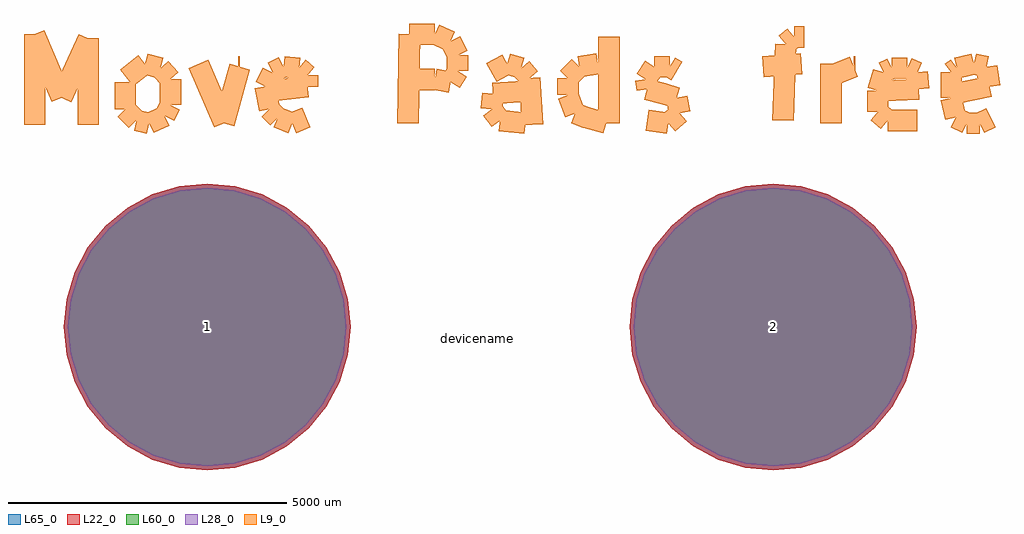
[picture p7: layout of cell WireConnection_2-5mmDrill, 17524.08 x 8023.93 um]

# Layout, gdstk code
import gdstk
lib = gdstk.Library(unit=1e-6, precision=1e-09)
def P(c, l, *ps):  # polygons
    for p in ps: c.add(gdstk.Polygon(p, *l))
L9_0 = (9, 0)
L22_0 = (22, 0)
L28_0 = (28, 0)
L60_0 = (60, 0)
L65_0 = (65, 0)

wireconnection_2_5mmdril = lib.new_cell('WireConnection_2-5mmDrill')
P(wireconnection_2_5mmdril, L22_0, [(12735.63,0),(12686.14,502.48),(12539.572,985.651),(12301.558,1430.943),(11981.245,1821.245),(11590.943,2141.558),(11145.651,2379.572),(10662.48,2526.14),(10160,2575.63),(9657.52,2526.14),(9174.349,2379.572),(8729.057,2141.558),(8338.755,1821.245),(8018.442,1430.943),(7780.428,985.651),(7633.86,502.48),(7584.37,0),(7633.86,-502.48),(7780.428,-985.651),(8018.442,-1430.943),(8338.755,-1821.245),(8729.057,-2141.558),(9174.349,-2379.572),(9657.52,-2526.14),(10160,-2575.63),(10662.48,-2526.14),(11145.651,-2379.572),(11590.943,-2141.558),(11981.245,-1821.245),(12301.558,-1430.943),(12539.572,-985.651),(12686.14,-502.48)],
  [(2575.63,0),(2526.14,502.48),(2379.572,985.651),(2141.558,1430.943),(1821.245,1821.245),(1430.943,2141.558),(985.651,2379.572),(502.48,2526.14),(0,2575.63),(-502.48,2526.14),(-985.651,2379.572),(-1430.943,2141.558),(-1821.245,1821.245),(-2141.558,1430.943),(-2379.572,985.651),(-2526.14,502.48),(-2575.63,0),(-2526.14,-502.48),(-2379.572,-985.651),(-2141.558,-1430.943),(-1821.245,-1821.245),(-1430.943,-2141.558),(-985.651,-2379.572),(-502.48,-2526.14),(0,-2575.63),(502.48,-2526.14),(985.651,-2379.572),(1430.943,-2141.558),(1821.245,-1821.245),(2141.558,-1430.943),(2379.572,-985.651),(2526.14,-502.48)])
P(wireconnection_2_5mmdril, L28_0, [(12660.63,0),(12612.581,487.849),(12470.281,956.95),(12239.198,1389.276),(11928.212,1768.212),(11549.276,2079.198),(11116.95,2310.281),(10647.849,2452.581),(10160,2500.63),(9672.151,2452.581),(9203.05,2310.281),(8770.724,2079.198),(8391.788,1768.212),(8080.802,1389.276),(7849.719,956.95),(7707.419,487.849),(7659.37,0),(7707.419,-487.849),(7849.719,-956.95),(8080.802,-1389.276),(8391.788,-1768.212),(8770.724,-2079.198),(9203.05,-2310.281),(9672.151,-2452.581),(10160,-2500.63),(10647.849,-2452.581),(11116.95,-2310.281),(11549.276,-2079.198),(11928.212,-1768.212),(12239.198,-1389.276),(12470.281,-956.95),(12612.581,-487.849)],
  [(2500.63,0),(2452.581,487.849),(2310.281,956.95),(2079.198,1389.276),(1768.212,1768.212),(1389.276,2079.198),(956.95,2310.281),(487.849,2452.581),(0,2500.63),(-487.849,2452.581),(-956.95,2310.281),(-1389.276,2079.198),(-1768.212,1768.212),(-2079.198,1389.276),(-2310.281,956.95),(-2452.581,487.849),(-2500.63,0),(-2452.581,-487.849),(-2310.281,-956.95),(-2079.198,-1389.276),(-1768.212,-1768.212),(-1389.276,-2079.198),(-956.95,-2310.281),(-487.849,-2452.581),(0,-2500.63),(487.849,-2452.581),(956.95,-2310.281),(1389.276,-2079.198),(1768.212,-1768.212),(2079.198,-1389.276),(2310.281,-956.95),(2452.581,-487.849)])
P(wireconnection_2_5mmdril, L60_0, [(12660.63,0),(12612.581,487.849),(12470.281,956.95),(12239.198,1389.276),(11928.212,1768.212),(11549.276,2079.198),(11116.95,2310.281),(10647.849,2452.581),(10160,2500.63),(9672.151,2452.581),(9203.05,2310.281),(8770.724,2079.198),(8391.788,1768.212),(8080.802,1389.276),(7849.719,956.95),(7707.419,487.849),(7659.37,0),(7707.419,-487.849),(7849.719,-956.95),(8080.802,-1389.276),(8391.788,-1768.212),(8770.724,-2079.198),(9203.05,-2310.281),(9672.151,-2452.581),(10160,-2500.63),(10647.849,-2452.581),(11116.95,-2310.281),(11549.276,-2079.198),(11928.212,-1768.212),(12239.198,-1389.276),(12470.281,-956.95),(12612.581,-487.849)],
  [(2500.63,0),(2452.581,487.849),(2310.281,956.95),(2079.198,1389.276),(1768.212,1768.212),(1389.276,2079.198),(956.95,2310.281),(487.849,2452.581),(0,2500.63),(-487.849,2452.581),(-956.95,2310.281),(-1389.276,2079.198),(-1768.212,1768.212),(-2079.198,1389.276),(-2310.281,956.95),(-2452.581,487.849),(-2500.63,0),(-2452.581,-487.849),(-2310.281,-956.95),(-2079.198,-1389.276),(-1768.212,-1768.212),(-1389.276,-2079.198),(-956.95,-2310.281),(-487.849,-2452.581),(0,-2500.63),(487.849,-2452.581),(956.95,-2310.281),(1389.276,-2079.198),(1768.212,-1768.212),(2079.198,-1389.276),(2310.281,-956.95),(2452.581,-487.849)])
P(wireconnection_2_5mmdril, L65_0, [(12735.63,0),(12686.14,502.48),(12539.572,985.651),(12301.558,1430.943),(11981.245,1821.245),(11590.943,2141.558),(11145.651,2379.572),(10662.48,2526.14),(10160,2575.63),(9657.52,2526.14),(9174.349,2379.572),(8729.057,2141.558),(8338.755,1821.245),(8018.442,1430.943),(7780.428,985.651),(7633.86,502.48),(7584.37,0),(7633.86,-502.48),(7780.428,-985.651),(8018.442,-1430.943),(8338.755,-1821.245),(8729.057,-2141.558),(9174.349,-2379.572),(9657.52,-2526.14),(10160,-2575.63),(10662.48,-2526.14),(11145.651,-2379.572),(11590.943,-2141.558),(11981.245,-1821.245),(12301.558,-1430.943),(12539.572,-985.651),(12686.14,-502.48)],
  [(2575.63,0),(2526.14,502.48),(2379.572,985.651),(2141.558,1430.943),(1821.245,1821.245),(1430.943,2141.558),(985.651,2379.572),(502.48,2526.14),(0,2575.63),(-502.48,2526.14),(-985.651,2379.572),(-1430.943,2141.558),(-1821.245,1821.245),(-2141.558,1430.943),(-2379.572,985.651),(-2526.14,502.48),(-2575.63,0),(-2526.14,-502.48),(-2379.572,-985.651),(-2141.558,-1430.943),(-1821.245,-1821.245),(-1430.943,-2141.558),(-985.651,-2379.572),(-502.48,-2526.14),(0,-2575.63),(502.48,-2526.14),(985.651,-2379.572),(1430.943,-2141.558),(1821.245,-1821.245),(2141.558,-1430.943),(2379.572,-985.651),(2526.14,-502.48)])
wireconnection_2_5mmdril.add(gdstk.FlexPath([(-2133.6,5181.6),(-2133.6,3632.2)], 380.998, ends="flush", simple_path=True, layer=9, datatype=0))  # L9_0
wireconnection_2_5mmdril.add(gdstk.FlexPath([(-2616.2,4114.8),(-2133.6,5181.6)], 380.998, ends="flush", simple_path=True, layer=9, datatype=0))  # L9_0
wireconnection_2_5mmdril.add(gdstk.FlexPath([(-3098.8,5257.8),(-2616.2,4114.8)], 380.998, ends="flush", simple_path=True, layer=9, datatype=0))  # L9_0
wireconnection_2_5mmdril.add(gdstk.FlexPath([(-3098.8,3632.2),(-3098.8,5257.8)], 380.998, ends="flush", simple_path=True, layer=9, datatype=0))  # L9_0
wireconnection_2_5mmdril.add(gdstk.FlexPath([(-1117.6,4724.4),(-1447.8,4470.4)], 380.998, ends="flush", simple_path=True, layer=9, datatype=0))  # L9_0
wireconnection_2_5mmdril.add(gdstk.FlexPath([(-838.2,4648.2),(-1117.6,4724.4)], 380.998, ends="flush", simple_path=True, layer=9, datatype=0))  # L9_0
wireconnection_2_5mmdril.add(gdstk.FlexPath([(-660.4,4445),(-838.2,4648.2)], 380.998, ends="flush", simple_path=True, layer=9, datatype=0))  # L9_0
wireconnection_2_5mmdril.add(gdstk.FlexPath([(-660.4,3987.8),(-660.4,4445)], 380.998, ends="flush", simple_path=True, layer=9, datatype=0))  # L9_0
wireconnection_2_5mmdril.add(gdstk.FlexPath([(-762,3784.6),(-660.4,3987.8)], 380.998, ends="flush", simple_path=True, layer=9, datatype=0))  # L9_0
wireconnection_2_5mmdril.add(gdstk.FlexPath([(-1041.4,3657.6),(-762,3784.6)], 380.998, ends="flush", simple_path=True, layer=9, datatype=0))  # L9_0
wireconnection_2_5mmdril.add(gdstk.FlexPath([(-1270,3708.4),(-1041.4,3657.6)], 380.998, ends="flush", simple_path=True, layer=9, datatype=0))  # L9_0
wireconnection_2_5mmdril.add(gdstk.FlexPath([(-1473.2,3911.6),(-1270,3708.4)], 380.998, ends="flush", simple_path=True, layer=9, datatype=0))  # L9_0
wireconnection_2_5mmdril.add(gdstk.FlexPath([(-1473.2,4394.2),(-1473.2,3911.6)], 380.998, ends="flush", simple_path=True, layer=9, datatype=0))  # L9_0
wireconnection_2_5mmdril.add(gdstk.FlexPath([(584.2,4673.6),(558.8,4673.6)], 380.998, ends="flush", simple_path=True, layer=9, datatype=0))  # L9_0
wireconnection_2_5mmdril.add(gdstk.FlexPath([(304.8,3657.6),(584.2,4673.6)], 380.998, ends="flush", simple_path=True, layer=9, datatype=0))  # L9_0
wireconnection_2_5mmdril.add(gdstk.FlexPath([(-152.4,4724.4),(304.8,3657.6)], 380.998, ends="flush", simple_path=True, layer=9, datatype=0))  # L9_0
wireconnection_2_5mmdril.add(gdstk.FlexPath([(1803.4,4318),(1168.4,4241.8)], 380.998, ends="flush", simple_path=True, layer=9, datatype=0))  # L9_0
wireconnection_2_5mmdril.add(gdstk.FlexPath([(1803.4,4521.2),(1803.4,4318)], 380.998, ends="flush", simple_path=True, layer=9, datatype=0))  # L9_0
wireconnection_2_5mmdril.add(gdstk.FlexPath([(1651,4648.2),(1803.4,4521.2)], 380.998, ends="flush", simple_path=True, layer=9, datatype=0))  # L9_0
wireconnection_2_5mmdril.add(gdstk.FlexPath([(1371.6,4673.6),(1651,4648.2)], 380.998, ends="flush", simple_path=True, layer=9, datatype=0))  # L9_0
wireconnection_2_5mmdril.add(gdstk.FlexPath([(1168.4,4572),(1371.6,4673.6)], 380.998, ends="flush", simple_path=True, layer=9, datatype=0))  # L9_0
wireconnection_2_5mmdril.add(gdstk.FlexPath([(1041.4,4318),(1168.4,4572)], 380.998, ends="flush", simple_path=True, layer=9, datatype=0))  # L9_0
wireconnection_2_5mmdril.add(gdstk.FlexPath([(1117.6,3911.6),(1041.4,4318)], 380.998, ends="flush", simple_path=True, layer=9, datatype=0))  # L9_0
wireconnection_2_5mmdril.add(gdstk.FlexPath([(1270,3759.2),(1117.6,3911.6)], 380.998, ends="flush", simple_path=True, layer=9, datatype=0))  # L9_0
wireconnection_2_5mmdril.add(gdstk.FlexPath([(1524,3657.6),(1270,3759.2)], 380.998, ends="flush", simple_path=True, layer=9, datatype=0))  # L9_0
wireconnection_2_5mmdril.add(gdstk.FlexPath([(1778,3759.2),(1524,3657.6)], 380.998, ends="flush", simple_path=True, layer=9, datatype=0))  # L9_0
wireconnection_2_5mmdril.add(gdstk.FlexPath([(4089.4,4445),(3632.2,4445)], 380.998, ends="flush", simple_path=True, layer=9, datatype=0))  # L9_0
wireconnection_2_5mmdril.add(gdstk.FlexPath([(4368.8,4394.2),(4089.4,4445)], 380.998, ends="flush", simple_path=True, layer=9, datatype=0))  # L9_0
wireconnection_2_5mmdril.add(gdstk.FlexPath([(4495.8,4597.4),(4368.8,4394.2)], 380.998, ends="flush", simple_path=True, layer=9, datatype=0))  # L9_0
wireconnection_2_5mmdril.add(gdstk.FlexPath([(4495.8,4876.8),(4495.8,4597.4)], 380.998, ends="flush", simple_path=True, layer=9, datatype=0))  # L9_0
wireconnection_2_5mmdril.add(gdstk.FlexPath([(4368.8,5130.8),(4495.8,4876.8)], 380.998, ends="flush", simple_path=True, layer=9, datatype=0))  # L9_0
wireconnection_2_5mmdril.add(gdstk.FlexPath([(4089.4,5257.8),(4368.8,5130.8)], 380.998, ends="flush", simple_path=True, layer=9, datatype=0))  # L9_0
wireconnection_2_5mmdril.add(gdstk.FlexPath([(3632.2,5257.8),(4089.4,5257.8)], 380.998, ends="flush", simple_path=True, layer=9, datatype=0))  # L9_0
wireconnection_2_5mmdril.add(gdstk.FlexPath([(3606.8,3657.6),(3632.2,5257.8)], 380.998, ends="flush", simple_path=True, layer=9, datatype=0))  # L9_0
wireconnection_2_5mmdril.add(gdstk.FlexPath([(5791.2,4470.4),(5842,3632.2)], 380.998, ends="flush", simple_path=True, layer=9, datatype=0))  # L9_0
wireconnection_2_5mmdril.add(gdstk.FlexPath([(5638.8,4648.2),(5791.2,4470.4)], 380.998, ends="flush", simple_path=True, layer=9, datatype=0))  # L9_0
wireconnection_2_5mmdril.add(gdstk.FlexPath([(5384.8,4724.4),(5638.8,4648.2)], 380.998, ends="flush", simple_path=True, layer=9, datatype=0))  # L9_0
wireconnection_2_5mmdril.add(gdstk.FlexPath([(5105.4,4572),(5384.8,4724.4)], 380.998, ends="flush", simple_path=True, layer=9, datatype=0))  # L9_0
wireconnection_2_5mmdril.add(gdstk.FlexPath([(5130.8,4191),(5842,4241.8)], 380.998, ends="flush", simple_path=True, layer=9, datatype=0))  # L9_0
wireconnection_2_5mmdril.add(gdstk.FlexPath([(5105.4,3911.6),(5130.8,4191)], 380.998, ends="flush", simple_path=True, layer=9, datatype=0))  # L9_0
wireconnection_2_5mmdril.add(gdstk.FlexPath([(5257.8,3708.4),(5105.4,3911.6)], 380.998, ends="flush", simple_path=True, layer=9, datatype=0))  # L9_0
wireconnection_2_5mmdril.add(gdstk.FlexPath([(5715,3657.6),(5257.8,3708.4)], 380.998, ends="flush", simple_path=True, layer=9, datatype=0))  # L9_0
wireconnection_2_5mmdril.add(gdstk.FlexPath([(7213.6,5207),(7213.6,3657.6)], 380.998, ends="flush", simple_path=True, layer=9, datatype=0))  # L9_0
wireconnection_2_5mmdril.add(gdstk.FlexPath([(6680.2,4673.6),(7010.4,4724.4)], 380.998, ends="flush", simple_path=True, layer=9, datatype=0))  # L9_0
wireconnection_2_5mmdril.add(gdstk.FlexPath([(6477,4470.4),(6680.2,4673.6)], 380.998, ends="flush", simple_path=True, layer=9, datatype=0))  # L9_0
wireconnection_2_5mmdril.add(gdstk.FlexPath([(6477,4165.6),(6477,4470.4)], 380.998, ends="flush", simple_path=True, layer=9, datatype=0))  # L9_0
wireconnection_2_5mmdril.add(gdstk.FlexPath([(6604,3835.4),(6477,4165.6)], 380.998, ends="flush", simple_path=True, layer=9, datatype=0))  # L9_0
wireconnection_2_5mmdril.add(gdstk.FlexPath([(6807.2,3759.2),(6604,3835.4)], 380.998, ends="flush", simple_path=True, layer=9, datatype=0))  # L9_0
wireconnection_2_5mmdril.add(gdstk.FlexPath([(7162.8,3657.6),(6807.2,3759.2)], 380.998, ends="flush", simple_path=True, layer=9, datatype=0))  # L9_0
wireconnection_2_5mmdril.add(gdstk.FlexPath([(8280.4,3657.6),(7899.4,3708.4)], 380.998, ends="flush", simple_path=True, layer=9, datatype=0))  # L9_0
wireconnection_2_5mmdril.add(gdstk.FlexPath([(8483.6,3835.4),(8280.4,3657.6)], 380.998, ends="flush", simple_path=True, layer=9, datatype=0))  # L9_0
wireconnection_2_5mmdril.add(gdstk.FlexPath([(8432.8,4114.8),(8483.6,3835.4)], 380.998, ends="flush", simple_path=True, layer=9, datatype=0))  # L9_0
wireconnection_2_5mmdril.add(gdstk.FlexPath([(8178.8,4191),(8432.8,4114.8)], 380.998, ends="flush", simple_path=True, layer=9, datatype=0))  # L9_0
wireconnection_2_5mmdril.add(gdstk.FlexPath([(7899.4,4267.2),(8178.8,4191)], 380.998, ends="flush", simple_path=True, layer=9, datatype=0))  # L9_0
wireconnection_2_5mmdril.add(gdstk.FlexPath([(7874,4445),(7899.4,4267.2)], 380.998, ends="flush", simple_path=True, layer=9, datatype=0))  # L9_0
wireconnection_2_5mmdril.add(gdstk.FlexPath([(8026.4,4673.6),(7874,4445)], 380.998, ends="flush", simple_path=True, layer=9, datatype=0))  # L9_0
wireconnection_2_5mmdril.add(gdstk.FlexPath([(8305.8,4673.6),(8026.4,4673.6)], 380.998, ends="flush", simple_path=True, layer=9, datatype=0))  # L9_0
wireconnection_2_5mmdril.add(gdstk.FlexPath([(8432.8,4597.4),(8305.8,4673.6)], 380.998, ends="flush", simple_path=True, layer=9, datatype=0))  # L9_0
wireconnection_2_5mmdril.add(gdstk.FlexPath([(10388.6,5080),(10337.8,3708.4)], 380.998, ends="flush", simple_path=True, layer=9, datatype=0))  # L9_0
wireconnection_2_5mmdril.add(gdstk.FlexPath([(10541,5207),(10388.6,5080)], 380.998, ends="flush", simple_path=True, layer=9, datatype=0))  # L9_0
wireconnection_2_5mmdril.add(gdstk.FlexPath([(10718.8,5207),(10541,5207)], 380.998, ends="flush", simple_path=True, layer=9, datatype=0))  # L9_0
wireconnection_2_5mmdril.add(gdstk.FlexPath([(9982.2,4673.6),(10668,4724.4)], 380.998, ends="flush", simple_path=True, layer=9, datatype=0))  # L9_0
wireconnection_2_5mmdril.add(gdstk.FlexPath([(11201.4,4724.4),(11201.4,3657.6)], 380.998, ends="flush", simple_path=True, layer=9, datatype=0))  # L9_0
wireconnection_2_5mmdril.add(gdstk.FlexPath([(11607.8,4673.6),(11633.2,4673.6)], 380.998, ends="flush", simple_path=True, layer=9, datatype=0))  # L9_0
wireconnection_2_5mmdril.add(gdstk.FlexPath([(11226.8,4521.2),(11607.8,4673.6)], 380.998, ends="flush", simple_path=True, layer=9, datatype=0))  # L9_0
wireconnection_2_5mmdril.add(gdstk.FlexPath([(12776.2,4267.2),(12141.2,4241.8)], 380.998, ends="flush", simple_path=True, layer=9, datatype=0))  # L9_0
wireconnection_2_5mmdril.add(gdstk.FlexPath([(12750.8,4572),(12776.2,4267.2)], 380.998, ends="flush", simple_path=True, layer=9, datatype=0))  # L9_0
wireconnection_2_5mmdril.add(gdstk.FlexPath([(12573,4648.2),(12750.8,4572)], 380.998, ends="flush", simple_path=True, layer=9, datatype=0))  # L9_0
wireconnection_2_5mmdril.add(gdstk.FlexPath([(12293.6,4648.2),(12573,4648.2)], 380.998, ends="flush", simple_path=True, layer=9, datatype=0))  # L9_0
wireconnection_2_5mmdril.add(gdstk.FlexPath([(12141.2,4572),(12293.6,4648.2)], 380.998, ends="flush", simple_path=True, layer=9, datatype=0))  # L9_0
wireconnection_2_5mmdril.add(gdstk.FlexPath([(12039.6,4241.8),(12141.2,4572)], 380.998, ends="flush", simple_path=True, layer=9, datatype=0))  # L9_0
wireconnection_2_5mmdril.add(gdstk.FlexPath([(12039.6,3860.8),(12039.6,4241.8)], 380.998, ends="flush", simple_path=True, layer=9, datatype=0))  # L9_0
wireconnection_2_5mmdril.add(gdstk.FlexPath([(12217.4,3708.4),(12039.6,3860.8)], 380.998, ends="flush", simple_path=True, layer=9, datatype=0))  # L9_0
wireconnection_2_5mmdril.add(gdstk.FlexPath([(12420.6,3708.4),(12217.4,3708.4)], 380.998, ends="flush", simple_path=True, layer=9, datatype=0))  # L9_0
wireconnection_2_5mmdril.add(gdstk.FlexPath([(12750.8,3708.4),(12420.6,3708.4)], 380.998, ends="flush", simple_path=True, layer=9, datatype=0))  # L9_0
wireconnection_2_5mmdril.add(gdstk.FlexPath([(13436.6,4191),(13436.6,4241.8)], 380.998, ends="flush", simple_path=True, layer=9, datatype=0))  # L9_0
wireconnection_2_5mmdril.add(gdstk.FlexPath([(14046.2,4318),(13436.6,4191)], 380.998, ends="flush", simple_path=True, layer=9, datatype=0))  # L9_0
wireconnection_2_5mmdril.add(gdstk.FlexPath([(13995.4,4673.6),(14046.2,4318)], 380.998, ends="flush", simple_path=True, layer=9, datatype=0))  # L9_0
wireconnection_2_5mmdril.add(gdstk.FlexPath([(13766.8,4724.4),(13995.4,4673.6)], 380.998, ends="flush", simple_path=True, layer=9, datatype=0))  # L9_0
wireconnection_2_5mmdril.add(gdstk.FlexPath([(13462,4648.2),(13766.8,4724.4)], 380.998, ends="flush", simple_path=True, layer=9, datatype=0))  # L9_0
wireconnection_2_5mmdril.add(gdstk.FlexPath([(13360.4,4572),(13462,4648.2)], 380.998, ends="flush", simple_path=True, layer=9, datatype=0))  # L9_0
wireconnection_2_5mmdril.add(gdstk.FlexPath([(13360.4,4114.8),(13360.4,4572)], 380.998, ends="flush", simple_path=True, layer=9, datatype=0))  # L9_0
wireconnection_2_5mmdril.add(gdstk.FlexPath([(13436.6,3759.2),(13360.4,4114.8)], 380.998, ends="flush", simple_path=True, layer=9, datatype=0))  # L9_0
wireconnection_2_5mmdril.add(gdstk.FlexPath([(13639.8,3657.6),(13436.6,3759.2)], 380.998, ends="flush", simple_path=True, layer=9, datatype=0))  # L9_0
wireconnection_2_5mmdril.add(gdstk.FlexPath([(13868.4,3657.6),(13639.8,3657.6)], 380.998, ends="flush", simple_path=True, layer=9, datatype=0))  # L9_0
wireconnection_2_5mmdril.add(gdstk.FlexPath([(14071.6,3759.2),(13868.4,3657.6)], 380.998, ends="flush", simple_path=True, layer=9, datatype=0))  # L9_0
wireconnection_2_5mmdril.add(gdstk.Label('2', (10160,0), layer=28, texttype=0))
wireconnection_2_5mmdril.add(gdstk.Label('1', (0,0), layer=28, texttype=0))
wireconnection_2_5mmdril.add(gdstk.Label('type', (5080,-3810), layer=9, texttype=0))
wireconnection_2_5mmdril.add(gdstk.Label('devicename', (4851.4,-203.2), layer=9, texttype=0))

lib.write_gds('WireConnection_2-5mmDrill.gds')
